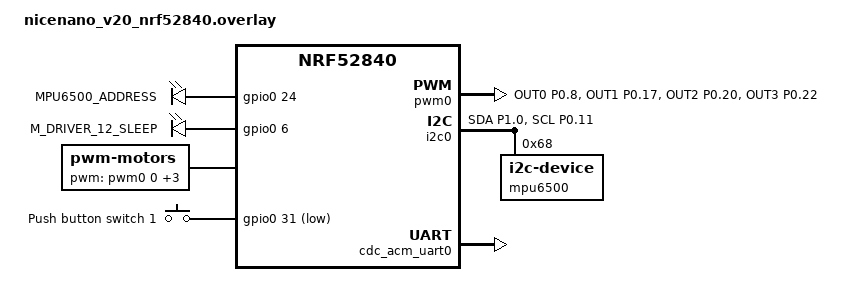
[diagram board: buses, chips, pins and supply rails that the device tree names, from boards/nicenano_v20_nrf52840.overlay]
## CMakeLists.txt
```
cmake_minimum_required(VERSION 3.20.0)
find_package(Zephyr REQUIRED HINTS $ENV{ZEPHYR_BASE})
target_include_directories(app PRIVATE
    ${CMAKE_CURRENT_SOURCE_DIR}/include
)

project(firmware)

target_sources(app PRIVATE src/main.c)
target_sources(app PRIVATE src/periphals.c)
target_sources(app PRIVATE src/mpu6050.c)
# target_sources(app PRIVATE src/motors.c)
target_sources(app PRIVATE src/usb_module.c)
target_sources(app PRIVATE src/ble_comm.c)
```

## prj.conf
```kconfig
# Enable logger module
CONFIG_LOG_MODE_IMMEDIATE=y
CONFIG_LOG=y # Also enables CONFIG_BT_DEBUG_LOG=y

# GPIO, I2C and PWM
CONFIG_GPIO=y
CONFIG_PWM=y
CONFIG_LED=y
CONFIG_I2C=y

# USB CDC ACM (Communications Device Class - Abstract Control Model)
CONFIG_USB_DEVICE_STACK=y
CONFIG_USB_DEVICE_PRODUCT="SBR with NiceNano v.2"
CONFIG_USB_CDC_ACM_LOG_LEVEL_INF=y

CONFIG_SERIAL=y
CONFIG_CONSOLE=y
CONFIG_UART_CONSOLE=y
CONFIG_UART_LINE_CTRL=y

CONFIG_CBPRINTF_FP_SUPPORT=y

CONFIG_USB_DEVICE_PID=0x0001
CONFIG_USB_DEVICE_VID=0x1209

# Bluetooth LE
CONFIG_BT=y
CONFIG_BT_PERIPHERAL=y
CONFIG_BT_DEVICE_NAME="SBR"

# CONFIG_BT_LOG_LEVEL_DBG=y

CONFIG_SYSTEM_WORKQUEUE_STACK_SIZE=4096
CONFIG_MAIN_STACK_SIZE=4096
CONFIG_IDLE_STACK_SIZE=2048

# UF2 file for Adafruit bootloader
CONFIG_BUILD_OUTPUT_UF2=y
CONFIG_ROM_START_OFFSET=0x1000
```

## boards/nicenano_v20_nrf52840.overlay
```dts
/{
	chosen {
		zephyr,console = &cdc_acm_uart0;
		zephyr,bt-uart = &cdc_acm_uart0;
		zephyr,shell-uart = &cdc_acm_uart0;
		zephyr,uart-mcumgr = &cdc_acm_uart0;
		zephyr,bt-mon-uart = &cdc_acm_uart0;
		zephyr,bt-c2h-uart = &cdc_acm_uart0;
	};

	leds {
		mpu6500_ad0: mpu6500ad0 {
			label = "MPU6500_ADDRESS";
			gpios = <&gpio0 24 0>;
		};
		driver_s12: drivers12 {
			label = "M_DRIVER_12_SLEEP";
			gpios = <&gpio0 6 0>;
		};
	};

	motors: motors {
        compatible = "pwm-motors";
        pwms = <&pwm0 0 PWM_KHZ(20) PWM_POLARITY_NORMAL>,
			   <&pwm0 1 PWM_KHZ(20) PWM_POLARITY_NORMAL>,
			   <&pwm0 2 PWM_KHZ(20) PWM_POLARITY_NORMAL>,
			   <&pwm0 3 PWM_KHZ(20) PWM_POLARITY_NORMAL>;
    };

	buttons {
		compatible = "gpio-keys";
		button1: button_1 {
			gpios = <&gpio0 31 (GPIO_ACTIVE_LOW | GPIO_PULL_UP)>;
			label = "Push button switch 1";
		};
		};

    aliases {
		mpu6500-address = &mpu6500_ad0;
        drv-slp-12 = &driver_s12;
		bt1 = &button1;
    };
};

&pinctrl {
    i2c0_default: i2c0_default {
		group1 {
			psels = <NRF_PSEL(TWIM_SDA, 1, 0)>, <NRF_PSEL(TWIM_SCL, 0, 11)>;
		};
	};

	i2c0_sleep: i2c0_sleep {
		group1 {
			psels = <NRF_PSEL(TWIM_SDA, 1, 0)>, <NRF_PSEL(TWIM_SCL, 0, 11)>;
			low-power-enable;
		};
	};

	pwm0_default: pwm0_default {
		group1 {
			psels = <NRF_PSEL(PWM_OUT0, 0, 8)>,
					<NRF_PSEL(PWM_OUT1, 0, 17)>,
					<NRF_PSEL(PWM_OUT2, 0, 20)>,
					<NRF_PSEL(PWM_OUT3, 0, 22)>;
		};
	};
};

&pwm0 {
    compatible = "nordic,nrf-pwm";
    status = "okay";
	pinctrl-0 = <&pwm0_default>;
	pinctrl-names = "default";
};

&i2c0 {
    pinctrl-0 = <&i2c0_default>;
	pinctrl-names = "default";
    status = "okay";
	mpu6500: mpu6500@68{
        compatible = "i2c-device";
        reg = < 0x68 >;
        label = "mpu6500";
    };
};

&zephyr_udc0 {
	cdc_acm_uart0: cdc_acm_uart0 {
		compatible = "zephyr,cdc-acm-uart";
	};
};
```

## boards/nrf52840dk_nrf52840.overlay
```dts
// To get started, press Ctrl+Space to bring up the completion menu and view the available nodes.

// You can also use the buttons in the sidebar to perform actions on nodes.
// Actions currently available include:

// * Enabling / disabling the node
// * Adding the bus to a bus
// * Removing the node
// * Connecting ADC channels

// For more help, browse the DeviceTree documentation at https://docs.zephyrproject.org/latest/guides/dts/index.html
// You can also visit the nRF DeviceTree extension documentation at https://docs.nordicsemi.com/bundle/nrf-connect-vscode/page/guides/ncs_configure_app.html#devicetree-support-in-the-extension
/{
    aliases {
		bt1 = &button1;
    };
};
```

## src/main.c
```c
#include <zephyr/device.h>
#include <zephyr/kernel.h>
#include <zephyr/logging/log.h>

#include "periphals.h"
// #include "motors.h"
#include "mpu6050.h"

#include "balance_module.h"
#include "ble_comm.h"
#include "usb_module.h"

LOG_MODULE_REGISTER(SBR_main, LOG_LEVEL_DBG);

int64_t start = 0;
int64_t elapsed_ms =0;

#define SAMPLING_INTERVAL 5

K_SEM_DEFINE(i2c_tick_sem, 0, 1);

void timer_handler(struct k_timer *timer)
{
    k_sem_give(&i2c_tick_sem);   /* Signal only */
}

K_TIMER_DEFINE(i2c_timer, timer_handler, NULL);

void measurement_thread(void)
{
  while (1) {
    k_sem_take(&i2c_tick_sem, K_FOREVER);
    start = k_uptime_get();
    mpu6050_get_readings(&dev_i2c, readbuffer);

    int16_t accel_x = (readbuffer[0] << 8) | readbuffer[1];
    int16_t accel_z = (readbuffer[4] << 8) | readbuffer[5];
    int16_t gyro_y = (readbuffer[10] << 8) | readbuffer[11];

    float accel_x_mss = convert_accel(accel_x);
    float accel_z_mss = convert_accel(accel_z);
    float gyro_y_dps = convert_gyro(gyro_y);

    a_angle = accel_angle(accel_z_mss, accel_x_mss);
    g_angle = gyro_angle(gyro_y_dps, SAMPLING_INTERVAL);
    elapsed_ms = k_uptime_get() - start;
    current_angle = gyro_favor_factor * (current_angle + (g_angle * (1.00F / 100.0F))) + (1.00F - gyro_favor_factor) * a_angle;
  }
}

K_THREAD_DEFINE(i2c_tid, 1024, measurement_thread,
                NULL, NULL, NULL,
                5, 0, 0);
          
K_TIMER_DEFINE(measure_timer, timer_handler, NULL);

int time = 0;
bool drive = false;
uint8_t loop_time = 2;

void err_lock(int error_code) {
  LOG_ERR("Fatal error %d", error_code);
  while (1) {
    gpio_pin_toggle_dt(&led);
    k_msleep(200);
    gpio_pin_toggle_dt(&led);
    k_msleep(200);
  }
}

static inline void print_build_info() {
  LOG_INF("Build time: " __DATE__ " " __TIME__);
  LOG_INF("Build toolchain ver: " STRINGIFY(BUILD_VERSION));
  LOG_INF("START");
}

int main(void) {
  print_build_info();

  int err = 0;
  err += configure_gpios();
  err += config_buttons_callbacks();
  err += enable_usb();
  err += start_ble();
  err += init_mpu6050(&dev_i2c);

  if (err != 0) {
    LOG_ERR("Non zero error code detected in init: %d. Check logs.", err);
    err_lock(err);
  }

  // Poll if the DTR flag was set
  const struct device *const dev = DEVICE_DT_GET(DT_CHOSEN(zephyr_console));
  uint32_t dtr = 1; // 0;
  while (!dtr) {
    uart_line_ctrl_get(dev, UART_LINE_CTRL_DTR, &dtr);
    //    // Give CPU resources to low priority threads.
    k_msleep(100);
  }

  // pio_pin_set_dt(&m_driver_12_sleep, 1);

  k_timer_start(&measure_timer,
                  K_MSEC(SAMPLING_INTERVAL),   /* initial delay */
                  K_MSEC(SAMPLING_INTERVAL));  /* period */
  
  while (1) {
    LOG_INF("Current angle: %.2f A: %.2f G: %.2f Time: %d", (double)current_angle, (double)a_angle, (double)g_angle, (int)elapsed_ms);
    gpio_pin_set_dt(&led, 1);
    k_msleep(1);
    //LOG_INF("Loop took %lld ms\n", elapsed_ms);
    gpio_pin_set_dt(&led, 0);
    k_msleep(19);
  }
}
```

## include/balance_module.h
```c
#ifndef BALANCE_MODULE_H
#define BALANCE_MODULE_H

#include <zephyr/types.h>

uint8_t readbuffer[12] = {};
float a_angle = 0;
float g_angle = 0;

float balance_value = 0;
float balance_value_P = 0;
float balance_value_D = 0;

float kP = 6.001;
float kI = 0.0;
float kD = 2.205;
float kD_dumping = 0.85F;
float gyro_favor_factor = 0.98F;

float complementary_angle = 0;
float current_angle = 0;

#endif // BALANCE_MODULE_H
```

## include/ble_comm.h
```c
#ifndef BLE_COMM
#define BLE_COMM

#include <zephyr/bluetooth/bluetooth.h>
#include <zephyr/bluetooth/conn.h>
#include <zephyr/bluetooth/gatt.h>
#include <zephyr/bluetooth/hci.h>
#include <zephyr/bluetooth/uuid.h>
#include <zephyr/logging/log.h>
#include <zephyr/types.h>

// GATT Service UUID
#define BT_UUID_SBR_SERVICE_VAL                                                \
  BT_UUID_128_ENCODE(0x00000001, 0x1212, 0xefde, 0x1523, 0x785feabcd123)

/** @brief Button Characteristic UUID. */
#define BT_UUID_SBR_ACCEL_VAL                                                  \
  BT_UUID_128_ENCODE(0x00000002, 0x1212, 0xefde, 0x1523, 0x785feabcd123)

/** @brief Button Characteristic UUID. */
#define BT_UUID_SBR_GYRO_VAL                                                   \
  BT_UUID_128_ENCODE(0x00000003, 0x1212, 0xefde, 0x1523, 0x785feabcd123)

/** @brief Control Characteristic UUID. */
#define BT_UUID_SBR_CONTROL_VAL                                                \
  BT_UUID_128_ENCODE(0x00000011, 0x1212, 0xefde, 0x1523, 0x785feabcd123)

#define BT_UUID_SBR_SERVICE BT_UUID_DECLARE_128(BT_UUID_SBR_SERVICE_VAL)
#define BT_UUID_SBR_ACCEL BT_UUID_DECLARE_128(BT_UUID_SBR_ACCEL_VAL)
#define BT_UUID_SBR_GYRO BT_UUID_DECLARE_128(BT_UUID_SBR_GYRO_VAL)
#define BT_UUID_SBR_CONTROL BT_UUID_DECLARE_128(BT_UUID_SBR_CONTROL_VAL)

/** @brief Callback type for when an LED state change is received. */
typedef void (*led_cb_t)(const bool led_state);

/** @brief Callback type for when the button state is pulled. */
typedef bool (*button_cb_t)(void);

extern const struct bt_le_adv_param *adv_param;

#define DEVICE_NAME CONFIG_BT_DEVICE_NAME
#define DEVICE_NAME_LEN (sizeof(DEVICE_NAME) - 1)

extern const struct bt_data ad[2];
extern const struct bt_data sd[1];

struct sbr_callback {
  /** LED state change callback. */
  led_cb_t led_cb;
  /** Button read callback. */
  button_cb_t button_cb;
};

ssize_t read_accel(struct bt_conn *conn, const struct bt_gatt_attr *attr,
                   void *buf, uint16_t len, uint16_t offset);
ssize_t read_gyro(struct bt_conn *conn, const struct bt_gatt_attr *attr,
                  void *buf, uint16_t len, uint16_t offset);
ssize_t update_control(struct bt_conn *conn, const struct bt_gatt_attr *attr,
                       const void *buf, uint16_t len, uint16_t offset,
                       uint8_t flags);
int ble_init(struct sbr_callback *callbacks);

void on_connected(struct bt_conn *conn, uint8_t err);

void on_le_param_updated(struct bt_conn *conn, uint16_t interval,
                         uint16_t latency, uint16_t timeout);

void on_disconnected(struct bt_conn *conn, uint8_t reason);

extern struct bt_conn_cb connection_callbacks;

void sbr_contrl_cb(bool state);
bool sbr_accel_cb(void);
bool sbr_gyro_cb(void);

extern struct sbr_callback sbr_callbacks;

int start_ble(void);

#endif
```

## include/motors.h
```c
#ifndef MOTORS_H
#define MOTORS_H

#include <stdint.h>
#include <stdbool.h>
#include <zephyr/kernel.h>
#include <zephyr/device.h>
#include <zephyr/devicetree.h>
#include <zephyr/drivers/pwm.h>
#include <zephyr/drivers/gpio.h>

#define MAX_PULSE_NS 25000
#define MAX_ALLOWED_PULSE_NS_L 20000
#define MIN_WORKING_PULSE_NS_L 14000
#define MAX_ALLOWED_PULSE_NS_R 20000
#define MIN_WORKING_PULSE_NS_R 14000

/**
 * @brief Sets the PWM duty cycle for a specified channel.
 *
 * This function configures the PWM duty cycle for the given channel.
 * The duty cycle is clamped between 0 and 100%. The function asserts
 * that the channel index is within the valid range (0 to 3).
 *
 * @param channel   The PWM channel to configure (valid range: 0-3).
 * @param dutycycle The desired duty cycle percentage (0-100%).
 *
 * @note If the duty cycle exceeds 100%, it will be capped at 100%.
 * @note The function assumes that `pwm_channels` is properly initialized.
 */
void set_pwm_channel(uint8_t channel, uint8_t dutycycle);

/**
 * @brief Sets the speed and direction of the left motor.
 *
 * @param speed   The speed of the motor (0-100% duty cycle).
 * @param forward If true, the motor moves forward; otherwise, it moves in reverse.
 *
 * @note If the speed exceeds 100%, it will be capped at 100%.
 */
void set_l_motor_speed(uint8_t speed, bool forward);

/**
 * @brief Sets the speed and direction of the right motor.
 *
 * @param speed   The speed of the motor (0-100% duty cycle).
 * @param forward If true, the motor moves forward; otherwise, it moves in reverse.
 *
 * @note If the speed exceeds 100%, it will be capped at 100%.
 */
void set_r_motor_speed(uint8_t speed, bool forward);

/**
 * @brief Stops all motors by setting their PWM duty cycles to 0%.
 *
 * This function disables all motor movement by setting the duty cycle of
 * all PWM channels to 0, effectively stopping the motors.
 *
 *
 */
void stop_motors();

#endif // MOTORS_H
```

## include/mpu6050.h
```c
#ifndef MPU6050_H
#define MPU6050_H

#include <stdint.h>
#include <zephyr/logging/log.h>
#include <zephyr/drivers/i2c.h>

#define MPU6050_REG_ACCEL_XOUT_H 0x3B
#define MPU6050_REG_ACCEL_XOUT_L 0x3C
#define MPU6050_REG_ACCEL_YOUT_H 0x3D
#define MPU6050_REG_ACCEL_YOUT_L 0x3E
#define MPU6050_REG_ACCEL_ZOUT_H 0x3F
#define MPU6050_REG_ACCEL_ZOUT_L 0x40
#define MPU6050_REG_TEMP_OUT_H 0x41
#define MPU6050_REG_TEMP_OUT_L 0x42
#define MPU6050_REG_GYRO_XOUT_H 0x43
#define MPU6050_REG_GYRO_XOUT_L 0x44
#define MPU6050_REG_GYRO_YOUT_H 0x45
#define MPU6050_REG_GYRO_YOUT_L 0x46
#define MPU6050_REG_GYRO_ZOUT_H 0x47
#define MPU6050_REG_GYRO_ZOUT_L 0x48

#define MPU6050_REG_CONFIG 0x1A
#define MPU6050_REG_GYRO_CONFIG 0x1B
#define MPU6050_REG_ACCEL_CONFIG 0x1C

#define MPU6050_REG_PWR_MGMT_1 0x6B
#define MPU6050_REG_PWR_MGMT_2 0x6C

#define MPU6050_REG_WHO_AM_I 0x75

#define G_CONSTANT 9.80665F
#define M_PI 3.14159265358979F

enum DLPF_CFG
{
    BW_256HZ,
    BW_188HZ,
    BW_98HZ,
    BW_42HZ,
    BW_20HZ,
    BW_10HZ,
    BW_5HZ,
};

/**
 * @brief Initializes the MPU6050 sensor.
 *
 * This function configures the MPU6050 by:
 * - Waking up the device from sleep mode.
 * - Setting the accelerometer and gyroscope to default sensitivity (±2g, ±250°/s).
 * - Configuring the digital low-pass filter (DLPF) bandwidth to 42Hz.
 * - Introducing short delays to ensure proper register configuration.
 *
 * @param dev_i2c Pointer to the I2C device specification.
 *
 * @note The default settings provide basic sensor functionality.
 *       Additional configuration may be required for specific applications.
 */
int init_mpu6050(const struct i2c_dt_spec *dev_i2c);

/**
 * @brief Reads 12 bytes of sensor data from the MPU6050.
 *
 * This function reads 12 bytes of data starting from the register
 * `MPU6050_REG_ACCEL_YOUT_H` in a burst operation. The data includes:
 * - 6 bytes of accelerometer data (X, Y, Z axes)
 * - 2 bytes of temperature data
 * - 4 bytes of gyroscope data (X, Y, Z axes)
 *
 * @param dev_i2c  Pointer to the I2C device specification.
 * @param buffer   Pointer to a buffer where the retrieved data will be stored.
 *
 * @note The data is stored in the provided buffer in the following order:
 * 1. acc-X HB
 * 2. acc-X LB
 * 3. acc-Y HB
 * 4. acc-Y LB
 * 5. acc-Z HB
 * 6. acc-Z LB
 * 7. Temp HB
 * 8. Temp LB
 * 9. gyro-X HB
 * 10.gyro-X LB
 * 11.gyro-Y HB
 * 12.gyro-Y LB
 */
int mpu6050_get_readings(const struct i2c_dt_spec *dev_i2c, uint8_t *buffer);

float accel_angle(float z_acc, float x_acc);
float gyro_angle(float angle_speed, float time_ms);

/**
 * @brief Converts raw gyroscope data to degrees per second (°/s).
 *
 * This function converts a raw 16-bit gyroscope reading from the MPU6500
 * into a float representing the angular velocity in degrees per second (°/s).
 * The conversion factor is based on a full-scale range of ±250°/s
 * (sensitivity: 131.072 LSB/°/s).
 *
 * @param raw_val  Raw gyroscope value (16-bit signed integer).
 * @return Converted angular velocity in degrees per second.
 */
float convert_gyro(int16_t raw_val);

/**
 * @brief Converts raw accelerometer data to acceleration in m/s².
 *
 * This function converts a raw 16-bit accelerometer reading from the MPU6500
 * into a float representing acceleration in meters per second squared (m/s²).
 * The conversion factor is based on a full-scale range of ±2g
 * (sensitivity: 16,384 LSB/g). The result is multiplied by `G_CONSTANT`
 * to express acceleration in standard gravity units.
 *
 * @param raw_val  Raw accelerometer value (16-bit signed integer).
 * @return Converted acceleration in meters per second squared (m/s²).
 */
float convert_accel(int16_t raw_val);

#endif // MPU6050_H
```

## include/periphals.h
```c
#ifndef PERIPHALS_H
#define PERIPHALS_H

#include <zephyr/device.h>
#include <zephyr/devicetree.h>
#include <zephyr/drivers/gpio.h>
#include <zephyr/drivers/i2c.h>
#include <zephyr/drivers/pwm.h>
#include <zephyr/kernel.h>
#include <zephyr/sys/printk.h>
#include <zephyr/logging/log.h>

extern const struct gpio_dt_spec led;
extern const struct gpio_dt_spec mpu6500_address_pin;
extern const struct i2c_dt_spec dev_i2c;
extern const struct gpio_dt_spec m_driver_12_sleep;

extern bool drive;

void button1_pressed_cb(const struct device *dev, struct gpio_callback *cb,
                        uint32_t pins);

// void button2_pressed_cb(const struct device *dev, struct gpio_callback *cb,
// uint32_t pins);

/**
 * @brief Configures GPIO button callbacks for handling interrupts.
 *
 * This function initializes and configures the GPIO pins for button inputs,
 * sets up interrupts to trigger on both edges, and registers the corresponding
 * callback functions.
 *
 * Steps performed:
 * 1. Configures button1 as an input pin.
 * 2. Sets up an interrupt on both rising and falling edges for button1.
 * 3. Initializes a GPIO callback structure for button1.
 * 4. Registers the callback for button1 using `gpio_add_callback`.
 *
 * @note Code for button2 is commented out but can be enabled if needed.
 */
int config_buttons_callbacks();

/**
 * @brief Configures GPIO pins for the device
 *
 * Configures the LED pin as an active output.
 * Future implementation will configure MPU6500 address pin as active output
 * and motor driver sleep pin as inactive output.
 *
 * @return 0 on success, error code on failure.
 */
int configure_gpios();

void button1_cb(const struct device *dev, struct gpio_callback *cb,
                uint32_t pins);
void button1_pressed();
void button1_released();

#endif // PERIPHALS_H
```

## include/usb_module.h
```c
/*
prj.conf:
REQUIRED:
CONFIG_USB_DEVICE_STACK=y
OPTIONAL:
CONFIG_USB_DEVICE_PRODUCT="SBR with NiceNano v.2"
*/

#ifndef USB_MODULE_H
#define USB_MODULE_H

#include <zephyr/sys/printk.h>
#include <zephyr/usb/usb_device.h>
#include <zephyr/drivers/uart.h>
#include <zephyr/logging/log.h>

BUILD_ASSERT(DT_NODE_HAS_COMPAT(DT_CHOSEN(zephyr_console), zephyr_cdc_acm_uart),
			 "Console device is not ACM CDC UART device");

int enable_usb(void);

#endif // USB_MODULE_H
```

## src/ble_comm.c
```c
#include "ble_comm.h"

LOG_MODULE_REGISTER(SBR_BLE, LOG_LEVEL_DBG);

static struct sbr_callback sbr_cb;

static bool button_state;

BT_GATT_SERVICE_DEFINE(
    sbr_service, BT_GATT_PRIMARY_SERVICE(BT_UUID_SBR_SERVICE),

    BT_GATT_CHARACTERISTIC(BT_UUID_SBR_ACCEL, BT_GATT_CHRC_READ,
                           BT_GATT_PERM_READ, read_accel, NULL, &button_state),

    BT_GATT_CHARACTERISTIC(BT_UUID_SBR_GYRO, BT_GATT_CHRC_READ,
                           BT_GATT_PERM_READ, read_gyro, NULL, &button_state),

    BT_GATT_CHARACTERISTIC(BT_UUID_SBR_CONTROL, BT_GATT_CHRC_WRITE,
                           BT_GATT_PERM_WRITE, NULL, update_control, NULL));

const struct bt_le_adv_param *adv_param =
    BT_LE_ADV_PARAM((BT_LE_ADV_OPT_CONN |
                     BT_LE_ADV_OPT_USE_IDENTITY), /* Connectable advertising and
                                                     use identity address */
                    800, /* Min Advertising Interval 500ms (800*0.625ms) */
                    801, /* Max Advertising Interval 500.625ms (801*0.625ms) */
                    NULL); /* Set to NULL for undirected advertising */

const struct bt_data ad[] = {
    BT_DATA_BYTES(BT_DATA_FLAGS, (BT_LE_AD_GENERAL | BT_LE_AD_NO_BREDR)),
    BT_DATA(BT_DATA_NAME_COMPLETE, DEVICE_NAME, DEVICE_NAME_LEN),
};

const struct bt_data sd[] = {
    BT_DATA_BYTES(BT_DATA_UUID128_ALL, BT_UUID_SBR_SERVICE_VAL),
};

ssize_t read_accel(struct bt_conn *conn, const struct bt_gatt_attr *attr,
                   void *buf, uint16_t len, uint16_t offset) {
  // get a pointer to button_state which is passed in the
  // BT_GATT_CHARACTERISTIC() and stored in attr->user_data
  const char *value = attr->user_data;

  // LOG_DBG("Attribute read, handle: %u, conn: %p", attr->handle, (void
  // *)conn);

  if (sbr_cb.button_cb) {
    // Call the application callback function to update the get the current
    // value of the button
    button_state = sbr_cb.button_cb();
    return bt_gatt_attr_read(conn, attr, buf, len, offset, value,
                             sizeof(*value));
  }

  return 0;
}

ssize_t read_gyro(struct bt_conn *conn, const struct bt_gatt_attr *attr,
                  void *buf, uint16_t len, uint16_t offset) {
  // get a pointer to button_state which is passed in the
  // BT_GATT_CHARACTERISTIC() and stored in attr->user_data
  const char *value = attr->user_data;

  // LOG_DBG("Attribute read, handle: %u, conn: %p", attr->handle, (void
  // *)conn);

  if (sbr_cb.button_cb) {
    // Call the application callback function to update the get the current
    // value of the button
    button_state = sbr_cb.button_cb();
    return bt_gatt_attr_read(conn, attr, buf, len, offset, value,
                             sizeof(*value));
  }

  return 0;
}

ssize_t update_control(struct bt_conn *conn, const struct bt_gatt_attr *attr,
                       const void *buf, uint16_t len, uint16_t offset,
                       uint8_t flags) {
  // LOG_DBG("Attribute write, handle: %u, conn: %p", attr->handle, (void
  // *)conn);

  if (len != 1U) {
    // LOG_DBG("Write led: Incorrect data length");
    return BT_GATT_ERR(BT_ATT_ERR_INVALID_ATTRIBUTE_LEN);
  }

  if (offset != 0) {
    // LOG_DBG("Write led: Incorrect data offset");
    return BT_GATT_ERR(BT_ATT_ERR_INVALID_OFFSET);
  }

  if (sbr_cb.led_cb) {
    // Read the received value
    uint8_t val = *((uint8_t *)buf);

    if (val == 0x00 || val == 0x01) {
      // Call the application callback function to update the LED state
      sbr_cb.led_cb(val ? true : false);
    } else {
      // LOG_DBG("Write led: Incorrect value");
      return BT_GATT_ERR(BT_ATT_ERR_VALUE_NOT_ALLOWED);
    }
  }

  return len;
}

int ble_init(struct sbr_callback *callbacks) {
  if (callbacks) {
    sbr_cb.led_cb = callbacks->led_cb;
    sbr_cb.button_cb = callbacks->button_cb;
  }

  return 0;
}

void on_connected(struct bt_conn *conn, uint8_t err) {
  if (err) {
    LOG_ERR("Connection failed (err %u)", err);
    return;
  }

  LOG_INF("Connected\n");
}

void on_le_param_updated(struct bt_conn *conn, uint16_t interval,
                         uint16_t latency, uint16_t timeout) {
  double connection_interval = interval * 1.25; // in ms
  uint16_t supervision_timeout = timeout * 10;  // in ms
  LOG_INF("Connection parameters updated: interval %.2f ms, latency %d "
          "intervals, timeout %d ms",
          connection_interval, latency, supervision_timeout);
}

void on_disconnected(struct bt_conn *conn, uint8_t reason) {
  LOG_INF("Disconnected (reason %u)", reason);
}

struct bt_conn_cb connection_callbacks = {
    .connected = on_connected,
    .le_param_updated = on_le_param_updated,
    .disconnected = on_disconnected,
};

void sbr_contrl_cb(bool state) {
  // dk_set_led(USER_LED, led_state);
}

bool sbr_accel_cb(void) { return false; }

bool sbr_gyro_cb(void) { return true; }

struct sbr_callback sbr_callbacks = {
    .led_cb = sbr_contrl_cb,
    .button_cb = sbr_accel_cb,
};

int start_ble(void) {
  int err = 0;
  err = bt_enable(NULL);
  if (err) {
    LOG_ERR("Bluetooth init failed (err %d)", err);
    return err;
  }
  LOG_DBG("Bluetooth initialized.");

  err = bt_conn_cb_register(&connection_callbacks);
  if (err) {
    LOG_ERR("Failed to register connection callbacks (err %d)", err);
    return err;
  }
  LOG_DBG("cb registered.");

  err = ble_init(&sbr_callbacks);
  if (err) {
    LOG_ERR("Failed to init LBS (err:%d)", err);
    return err;
  }
  LOG_DBG("ble_init ok.");

  err = bt_le_adv_start(adv_param, ad, ARRAY_SIZE(ad), sd, ARRAY_SIZE(sd));
  if (err) {
    LOG_ERR("Advertising failed to start (err %d)", err);
    return err;
  }
  return 0;
}
```

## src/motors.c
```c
#include "motors.h"

#define MOTOR_PWM_NODE DT_NODELABEL(motors) // Reference the motors node
#define MOTOR_PWM_CTLR(idx) DT_PWMS_CTLR_BY_IDX(MOTOR_PWM_NODE, idx)
#define MOTOR_PWM_CHANNEL(idx) DT_PWMS_CHANNEL_BY_IDX(MOTOR_PWM_NODE, idx)
#define MOTOR_PWM_FLAGS(idx) DT_PWMS_FLAGS_BY_IDX(MOTOR_PWM_NODE, idx)

#define MOTOR_START_DC 50

#define M_DRIVER_12_SLEEP_NODE DT_ALIAS(drv_slp_12)
const struct gpio_dt_spec m_driver_12_sleep = GPIO_DT_SPEC_GET(M_DRIVER_12_SLEEP_NODE, gpios);

const struct pwm_dt_spec pwm_channels[4] = {
    {.dev = DEVICE_DT_GET(MOTOR_PWM_CTLR(0)),
     .channel = MOTOR_PWM_CHANNEL(0),
     .period = PWM_KHZ(20),
     .flags = MOTOR_PWM_FLAGS(0)},
    {.dev = DEVICE_DT_GET(MOTOR_PWM_CTLR(1)),
     .channel = MOTOR_PWM_CHANNEL(1),
     .period = PWM_KHZ(20),
     .flags = MOTOR_PWM_FLAGS(1)},
    {.dev = DEVICE_DT_GET(MOTOR_PWM_CTLR(2)),
     .channel = MOTOR_PWM_CHANNEL(2),
     .period = PWM_KHZ(20),
     .flags = MOTOR_PWM_FLAGS(2)},
    {.dev = DEVICE_DT_GET(MOTOR_PWM_CTLR(3)),
     .channel = MOTOR_PWM_CHANNEL(3),
     .period = PWM_KHZ(20),
     .flags = MOTOR_PWM_FLAGS(3)}};

void set_pwm_channel(uint8_t channel, uint8_t dutycycle)
{
    assert(channel <= 3);
    if (dutycycle > 100)
    {
        dutycycle = 100;
    }
    pwm_set_dt(&pwm_channels[channel], PWM_KHZ(20), PWM_NSEC(500 * dutycycle));
}

void set_l_motor_speed(uint8_t speed, bool forward)
{
    if (speed > 100)
    {
        speed = 100;
    }
    if (forward)
    {
        set_pwm_channel(0, 0);
        set_pwm_channel(1, MOTOR_START_DC + speed / 2);
    }
    else
    {
        set_pwm_channel(1, 0);
        set_pwm_channel(0, MOTOR_START_DC + speed / 2);
    }
}

void set_r_motor_speed(uint8_t speed, bool forward)
{
    if (speed > 100)
    {
        speed = 100;
    }
    if (forward)
    {
        set_pwm_channel(3, 0);
        set_pwm_channel(2, MOTOR_START_DC + speed / 2);
    }
    else
    {
        set_pwm_channel(2, 0);
        set_pwm_channel(3, MOTOR_START_DC + speed / 2);
    }
}

void stop_motors()
{
    set_pwm_channel(0, 0);
    set_pwm_channel(1, 0);
    set_pwm_channel(2, 0);
    set_pwm_channel(3, 0);
}
```

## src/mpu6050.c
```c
#include "mpu6050.h"
#include <math.h>

LOG_MODULE_REGISTER(SBR_MPU6050, LOG_LEVEL_DBG);

int init_mpu6050(const struct i2c_dt_spec *dev_i2c)
{   
    int err = 0;
    err += i2c_reg_write_byte_dt(dev_i2c, MPU6050_REG_PWR_MGMT_1, 0);
    LOG_DBG("%d\n", err);
    k_msleep(2);
    err += i2c_reg_write_byte_dt(dev_i2c, MPU6050_REG_ACCEL_CONFIG, 0x0);
    LOG_DBG("%d\n", err);
    k_msleep(2);
    err += i2c_reg_write_byte_dt(dev_i2c, MPU6050_REG_GYRO_CONFIG, 0x0);
    LOG_DBG("%d\n", err);
    k_msleep(2);
    err += i2c_reg_write_byte_dt(dev_i2c, MPU6050_REG_CONFIG, BW_98HZ);
    LOG_DBG("%d\n", err);
    k_msleep(2);
    LOG_DBG("MPU6050 init end with code: %d\n", err);
    return err;
}

/*
From MPU6050 datasheet:
AFS_SEL Full Scale Range LSB Sensitivity
0	±2g 	16384 	LSB/g
1	±4g		8192 	LSB/g
2	±8g 	4096 	LSB/g
3	±16g 	2048 	LSB/g
Returns in m/ss
*/
float convert_accel(int16_t raw_val)
{
    return (float)raw_val / 16384.F * G_CONSTANT;
}

float accel_angle(float x_acc, float z_acc)
{
    return atan2f(x_acc, -z_acc) * (180.0F / M_PI);
}

float gyro_angle(float angle_speed, float time_ms)
{
    return -angle_speed * time_ms / 1000.F;
}

/*
From MPU6050 datasheet:
 * FS_SEL Full Scale Range LSB Sensitivity
 * 0 ± 250 °/s 131 LSB/°/s     131072  (2^17)
 * 1 ± 500 °/s 65.5 LSB/°/s    65 536  (2^16)
 * 2 ± 1000 °/s 32.8 LSB/°/s   32 768  (2^15)
 * 3 ± 2000 °/s 16.4 LSB/°/s   16 384  (2^14)
 * Return result in degree/s
*/
float convert_gyro(int16_t raw_val)
{
    return (float)raw_val / 131.072F;
}

int mpu6050_get_readings(const struct i2c_dt_spec *dev_i2c, uint8_t *buffer)
{
    return i2c_burst_read_dt(dev_i2c, (uint8_t)MPU6050_REG_ACCEL_XOUT_H, buffer, 12);
}
```

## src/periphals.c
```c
#include "periphals.h"

#define LED0_NODE DT_ALIAS(led0) // LED0_NODE = led0 defined in the .dts file
#define MPU6500_ADDRESS_NODE DT_ALIAS(mpu6500_address)
#define I2C0_MPU_NODE DT_NODELABEL(mpu6500)
const struct gpio_dt_spec led = GPIO_DT_SPEC_GET(LED0_NODE, gpios);
const struct gpio_dt_spec mpu6500_address_pin = GPIO_DT_SPEC_GET(MPU6500_ADDRESS_NODE, gpios); 
const struct i2c_dt_spec dev_i2c = I2C_DT_SPEC_GET(I2C0_MPU_NODE);

LOG_MODULE_REGISTER(SBR_periphals, LOG_LEVEL_DBG);

int configure_gpios() {
  int ret;

  ret = gpio_pin_configure_dt(&led, GPIO_OUTPUT_ACTIVE);
  if (ret != 0) {
    LOG_ERR("Error %d: failed to configure LED pin %d\n", ret, led.pin);
    return ret;
  }

  // ret = gpio_pin_configure_dt(&mpu6500_address_pin, GPIO_OUTPUT_INACTIVE);
  /*if (ret != 0) {
      LOG_ERR("Error %d: failed to configure mpu6500 address pin %d\n", ret,
  mpu6500_address_pin.pin); return ret;
  }*/
  // ret = gpio_pin_configure_dt(&m_driver_12_sleep, GPIO_OUTPUT_ACTIVE);
  /*if (ret != 0) {
      LOG_ERR("Error %d: failed to configure m_driver_12_sleep pin %d\n", ret,
  m_driver_12_sleep.pin); return ret;
  }*/
  LOG_DBG("GPIO configured.");
  return 0;
}

#define SW1_NODE DT_ALIAS(bt1)
static const struct gpio_dt_spec button1 = GPIO_DT_SPEC_GET(SW1_NODE, gpios);
// #define SW1_NODE DT_ALIAS(bt2)
// static const struct gpio_dt_spec button2 = GPIO_DT_SPEC_GET(SW1_NODE, gpios);

static struct gpio_callback button1_cb_data;
// static struct gpio_callback button2_cb_data;

void button1_cb(const struct device *dev, struct gpio_callback *cb,
                uint32_t pins) {
  if (gpio_pin_get_dt(&button1)) {
    button1_pressed();
  } else {
    button1_released();
  }
}

void button1_pressed() {
  printk("btn down cb\n");
  // drive = true;
}

void button1_released() {
  printk("btn up cb\n");
  // drive = true;
}

/*
void button2_pressed_cb(const struct device *dev, struct gpio_callback *cb,
uint32_t pins)
{
    gpio_pin_set_dt(&led, 0);
    drive = false;
}
*/

int config_buttons_callbacks() {
  int ret = 0;
  ret = gpio_pin_configure_dt(&button1, GPIO_INPUT);
  // gpio_pin_configure_dt(&button2, GPIO_INPUT);
  if (ret != 0) {
    LOG_ERR("Button GPIO config failed with error: %d", ret);
    return ret;
  }

  // Setup interrupts for pins:
  ret = gpio_pin_interrupt_configure_dt(&button1, GPIO_INT_EDGE_BOTH);
  // gpio_pin_interrupt_configure_dt(&button2, GPIO_INT_EDGE_TO_ACTIVE);
  if (ret != 0) {
    LOG_ERR("Button interrupt config failed with error: %d", ret);
    return ret;
  }

  // Initialize the static struct gpio_callback variable
  gpio_init_callback(&button1_cb_data, button1_cb, BIT(button1.pin));
  // gpio_init_callback(&button2_cb_data, button2_pressed_cb, BIT(button2.pin));

  // Add the callback function by calling gpio_add_callback()
  gpio_add_callback(button1.port, &button1_cb_data);
  // gpio_add_callback(button2.port, &button2_cb_data);
  k_msleep(10);

  LOG_DBG("Button callback registered.");
  return ret;
}
```

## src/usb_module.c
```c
#include "usb_module.h"

LOG_MODULE_REGISTER(SBR_USB, LOG_LEVEL_DBG);

void usb_status_cb(enum usb_dc_status_code status, const uint8_t *param)
{
    switch (status)
    {
    case USB_DC_CONNECTED:
        LOG_INF("USB Connected");
        // Perform actions when USB is plugged in
        break;

    case USB_DC_DISCONNECTED:
        LOG_INF("USB Disconnected");
        // Perform actions when USB is unplugged
        break;

    default:
        break;
    }
}

int enable_usb(void)
{
    int ret = usb_enable(usb_status_cb);
    if (ret) {
        LOG_ERR("USB enable failed with code: %d", ret);
    } else {
        LOG_DBG("USB enabled.");
    }
    return ret;
}
```
